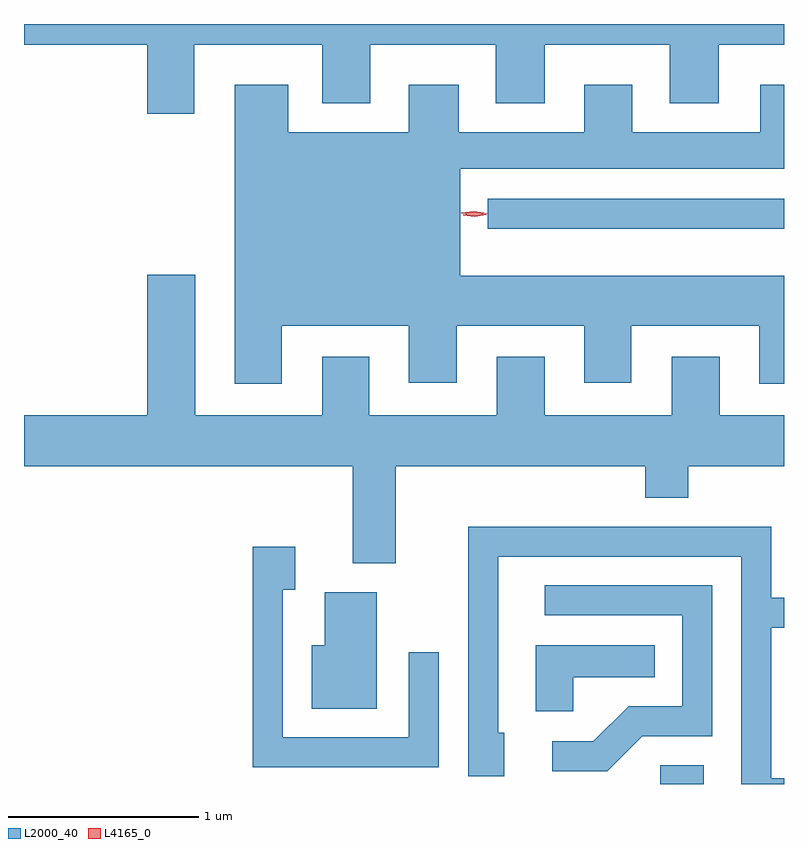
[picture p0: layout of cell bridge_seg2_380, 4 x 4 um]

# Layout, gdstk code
import gdstk
lib = gdstk.Library(unit=1e-6, precision=1e-09)
def R(c, l, rs):  # rectangles x0, y0, x1, y1
    for r in rs: c.add(gdstk.rectangle(r[:2], r[2:], *l))
def P(c, l, *ps):  # polygons
    for p in ps: c.add(gdstk.Polygon(p, *l))
L2000_40 = (2000, 40)
L4165_0 = (4165, 0)

bridge_seg2_380 = lib.new_cell('bridge_seg2_380')
R(bridge_seg2_380, L2000_40, [(647.741,1033.324,647.969,1033.424), (646.833,1036.246,648.392,1036.404)])
P(bridge_seg2_380, L2000_40, [(645.289,1037.216),(645.961,1037.216),(645.961,1036.906),(646.214,1036.906),(646.214,1037.216),(646.876,1037.216),(646.876,1036.906),(647.134,1036.906),(647.134,1037.216),(647.791,1037.216),(647.791,1036.906),(648.049,1036.906),(648.049,1037.216),(648.392,1037.216),(648.392,1037.324),(644.392,1037.324),(644.392,1037.216),(645.041,1037.216),(645.041,1036.851),(645.289,1036.851)],
  [(645.749,1035.736),(646.416,1035.736),(646.416,1035.436),(646.669,1035.436),(646.669,1035.736),(647.341,1035.736),(647.341,1035.436),(647.589,1035.436),(647.589,1035.736),(648.261,1035.736),(648.261,1035.431),(648.392,1035.431),(648.392,1035.999),(646.689,1035.999),(646.689,1036.561),(648.392,1036.561),(648.392,1037.004),(648.266,1037.004),(648.266,1036.754),(647.594,1036.754),(647.594,1037.004),(647.341,1037.004),(647.341,1036.754),(646.679,1036.754),(646.679,1037.004),(646.416,1037.004),(646.416,1036.754),(645.784,1036.754),(645.784,1037.004),(645.501,1037.004),(645.501,1035.431),(645.749,1035.431)],
  [(646.349,1034.996),(647.661,1034.996),(647.661,1034.831),(647.889,1034.831),(647.889,1034.996),(648.392,1034.996),(648.392,1035.264),(648.054,1035.264),(648.054,1035.574),(647.801,1035.574),(647.801,1035.264),(647.134,1035.264),(647.134,1035.574),(646.881,1035.574),(646.881,1035.264),(646.209,1035.264),(646.209,1035.574),(645.961,1035.574),(645.961,1035.264),(645.294,1035.264),(645.294,1036.004),(645.041,1036.004),(645.041,1035.264),(644.392,1035.264),(644.392,1034.996),(646.121,1034.996),(646.121,1034.486),(646.349,1034.486)],
  [(648.392,1033.354),(648.324,1033.354),(648.324,1034.146),(648.392,1034.146),(648.392,1034.304),(648.324,1034.304),(648.324,1034.679),(646.731,1034.679),(646.731,1033.366),(646.919,1033.366),(646.919,1033.594),(646.889,1033.594),(646.889,1034.521),(648.166,1034.521),(648.166,1033.324),(648.392,1033.324)],
  [(646.574,1034.017),(646.416,1034.017),(646.416,1033.569),(645.754,1033.569),(645.754,1034.346),(645.819,1034.346),(645.819,1034.574),(645.596,1034.574),(645.596,1033.411),(646.574,1033.411)],
  [(647.647,1033.576),(648.014,1033.576),(648.014,1034.369),(647.133,1034.369),(647.133,1034.211),(647.856,1034.211),(647.856,1033.734),(647.574,1033.734),(647.389,1033.549),(647.173,1033.549),(647.173,1033.391),(647.462,1033.391)],
  [(646.249,1034.334),(645.976,1034.334),(645.976,1034.054),(645.906,1034.054),(645.906,1033.721),(646.249,1033.721)],
  [(647.284,1033.886),(647.713,1033.886),(647.713,1034.054),(647.086,1034.054),(647.086,1033.706),(647.284,1033.706)])
P(bridge_seg2_380, L4165_0, [(646.761,1036.319),(646.693,1036.329),(646.692,1036.329),(646.693,1036.33),(646.762,1036.339),(646.83,1036.329),(646.83,1036.329),(646.83,1036.328)],
  [(646.765,1036.31),(646.703,1036.318),(646.702,1036.319),(646.703,1036.32),(646.764,1036.33),(646.826,1036.322),(646.827,1036.321),(646.826,1036.321)])

lib.write_gds('bridge_seg2_380.gds')
